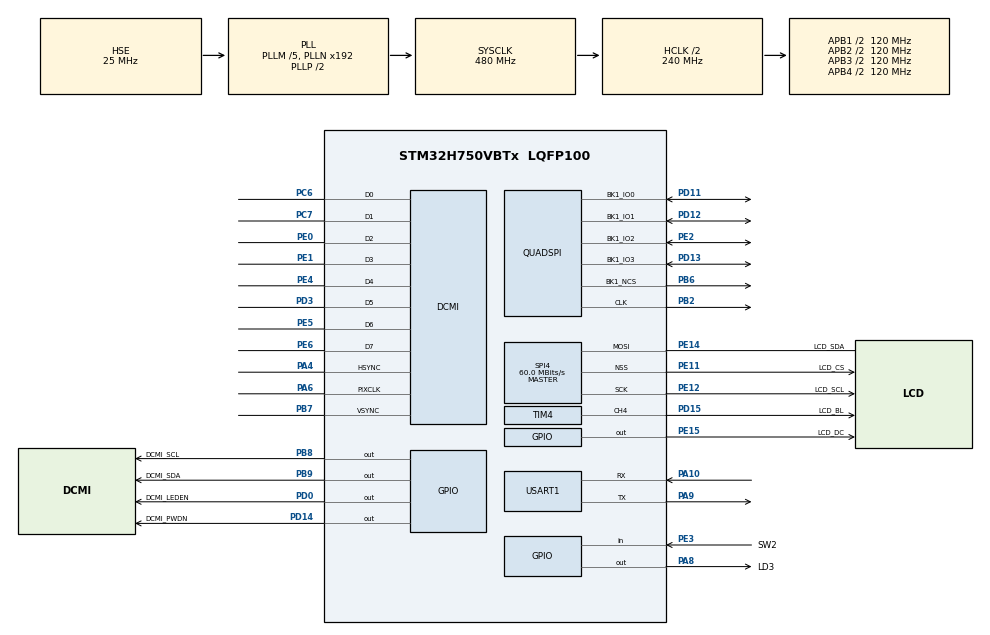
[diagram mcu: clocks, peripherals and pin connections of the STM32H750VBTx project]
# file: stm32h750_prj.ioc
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ADC3.Channel-0\#ChannelRegularConversion=ADC_CHANNEL_VBAT
ADC3.NbrOfConversionFlag=1
ADC3.OffsetNumber-0\#ChannelRegularConversion=ADC_OFFSET_NONE
ADC3.OffsetSignedSaturation-0\#ChannelRegularConversion=DISABLE
ADC3.Rank-0\#ChannelRegularConversion=1
ADC3.SamplingTime-0\#ChannelRegularConversion=ADC_SAMPLETIME_1CYCLE_5
CORTEX_M7.CPU_DCache=Enabled
CORTEX_M7.CPU_ICache=Enabled
CORTEX_M7.default_mode_Activation=1
DCMI.JPEGMode=DCMI_JPEG_DISABLE
DCMI.PCKPolarity=DCMI_PCKPOLARITY_RISING
Dma.DCMI.0.Direction=DMA_PERIPH_TO_MEMORY
Dma.DCMI.0.EventEnable=DISABLE
Dma.DCMI.0.FIFOMode=DMA_FIFOMODE_DISABLE
Dma.DCMI.0.Instance=DMA1_Stream0
Dma.DCMI.0.MemDataAlignment=DMA_MDATAALIGN_WORD
Dma.DCMI.0.MemInc=DMA_MINC_ENABLE
Dma.DCMI.0.Mode=DMA_CIRCULAR
Dma.DCMI.0.PeriphDataAlignment=DMA_PDATAALIGN_WORD
Dma.DCMI.0.PeriphInc=DMA_PINC_DISABLE
Dma.DCMI.0.Polarity=HAL_DMAMUX_REQ_GEN_RISING
Dma.DCMI.0.Priority=DMA_PRIORITY_LOW
Dma.DCMI.0.RequestNumber=1
Dma.DCMI.0.SignalID=NONE
Dma.DCMI.0.SyncEnable=DISABLE
Dma.DCMI.0.SyncPolarity=HAL_DMAMUX_SYNC_NO_EVENT
Dma.DCMI.0.SyncRequestNumber=1
Dma.DCMI.0.SyncSignalID=NONE
Dma.Request0=DCMI
Mcu.Family=STM32H7
Mcu.Name=STM32H750VBTx
Mcu.Package=LQFP100
Mcu.UserConstants=TEST_BAUDRATE,115200
NVIC.DCMI_IRQn=true\:0\:0\:false\:false\:true\:true\:true\:true
NVIC.DMA1_Stream0_IRQn=true\:0\:0\:false\:false\:true\:false\:true\:true
NVIC.PriorityGroup=NVIC_PRIORITYGROUP_4
PA10.Mode=Asynchronous
PA10.Signal=USART1_RX
PA13\ (JTMS/SWDIO).Mode=Trace_Asynchronous_SW
PA13\ (JTMS/SWDIO).Signal=DEBUG_JTMS-SWDIO
PA14\ (JTCK/SWCLK).Mode=Trace_Asynchronous_SW
PA14\ (JTCK/SWCLK).Signal=DEBUG_JTCK-SWCLK
PA4.GPIO_Speed=GPIO_SPEED_FREQ_VERY_HIGH
PA4.Mode=Slave_8_bits_External_Synchro
PA4.Signal=DCMI_HSYNC
PA6.GPIO_Speed=GPIO_SPEED_FREQ_VERY_HIGH
PA6.Mode=Slave_8_bits_External_Synchro
PA6.Signal=DCMI_PIXCLK
PA8.GPIO_Label=LD3
PA8.Signal=GPIO_Output
PA9.Mode=Asynchronous
PA9.Signal=USART1_TX
PB2.Mode=Single Bank 1
PB2.Signal=QUADSPI_CLK
PB3\ (JTDO/TRACESWO).Mode=Trace_Asynchronous_SW
PB3\ (JTDO/TRACESWO).Signal=DEBUG_JTDO-SWO
PB6.Mode=Single Bank 1
PB6.Signal=QUADSPI_BK1_NCS
PB7.GPIO_Speed=GPIO_SPEED_FREQ_VERY_HIGH
PB7.Mode=Slave_8_bits_External_Synchro
PB7.Signal=DCMI_VSYNC
PB8.GPIO_Label=DCMI_SCL
PB8.Signal=GPIO_Output
PB9.GPIO_Label=DCMI_SDA
PB9.GPIO_ModeDefaultOutputPP=GPIO_MODE_OUTPUT_OD
PB9.GPIO_PuPd=GPIO_NOPULL
PB9.Signal=GPIO_Output
PC14-OSC32_IN\ (OSC32_IN).Mode=LSE-External-Oscillator
PC14-OSC32_IN\ (OSC32_IN).Signal=RCC_OSC32_IN
PC15-OSC32_OUT\ (OSC32_OUT).Mode=LSE-External-Oscillator
PC15-OSC32_OUT\ (OSC32_OUT).Signal=RCC_OSC32_OUT
PC6.GPIO_Speed=GPIO_SPEED_FREQ_VERY_HIGH
PC6.Mode=Slave_8_bits_External_Synchro
PC6.Signal=DCMI_D0
PC7.GPIO_Speed=GPIO_SPEED_FREQ_VERY_HIGH
PC7.Mode=Slave_8_bits_External_Synchro
PC7.Signal=DCMI_D1
PD0.GPIO_Label=DCMI_LEDEN
PD0.Signal=GPIO_Output
PD11.Mode=Single Bank 1
PD11.Signal=QUADSPI_BK1_IO0
PD12.Mode=Single Bank 1
PD12.Signal=QUADSPI_BK1_IO1
PD13.Mode=Single Bank 1
PD13.Signal=QUADSPI_BK1_IO3
PD14.GPIO_Label=DCMI_PWDN
PD14.Signal=GPIO_Output
PD15.GPIO_Label=LCD_BL
PD15.Signal=S_TIM4_CH4
PD3.GPIO_Speed=GPIO_SPEED_FREQ_VERY_HIGH
PD3.Mode=Slave_8_bits_External_Synchro
PD3.Signal=DCMI_D5
PE0.GPIO_Speed=GPIO_SPEED_FREQ_VERY_HIGH
PE0.Mode=Slave_8_bits_External_Synchro
PE0.Signal=DCMI_D2
PE1.GPIO_Speed=GPIO_SPEED_FREQ_VERY_HIGH
PE1.Mode=Slave_8_bits_External_Synchro
PE1.Signal=DCMI_D3
PE11.GPIO_Label=LCD_CS
PE11.GPIO_Speed=GPIO_SPEED_FREQ_VERY_HIGH
PE11.Mode=NSS_Signal_Hard_Output
PE11.Signal=SPI4_NSS
PE12.GPIO_Label=LCD_SCL
PE12.GPIO_Speed=GPIO_SPEED_FREQ_VERY_HIGH
PE12.Mode=Simplex_Bidirectional_Master
PE12.Signal=SPI4_SCK
PE14.GPIO_Label=LCD_SDA
PE14.GPIO_Speed=GPIO_SPEED_FREQ_VERY_HIGH
PE14.Mode=Simplex_Bidirectional_Master
PE14.Signal=SPI4_MOSI
PE15.GPIO_Label=LCD_DC
PE15.Signal=GPIO_Output
PE2.Mode=Single Bank 1
PE2.Signal=QUADSPI_BK1_IO2
PE3.GPIO_Label=SW2
PE3.Signal=GPIO_Input
PE4.GPIO_Speed=GPIO_SPEED_FREQ_VERY_HIGH
PE4.Mode=Slave_8_bits_External_Synchro
PE4.Signal=DCMI_D4
PE5.GPIO_Speed=GPIO_SPEED_FREQ_VERY_HIGH
PE5.Mode=Slave_8_bits_External_Synchro
PE5.Signal=DCMI_D6
PE6.GPIO_Speed=GPIO_SPEED_FREQ_VERY_HIGH
PE6.Mode=Slave_8_bits_External_Synchro
PE6.Signal=DCMI_D7
PH0-OSC_IN\ (PH0).Mode=HSE-External-Oscillator
PH0-OSC_IN\ (PH0).Signal=RCC_OSC_IN
PH1-OSC_OUT\ (PH1).Mode=HSE-External-Oscillator
PH1-OSC_OUT\ (PH1).Signal=RCC_OSC_OUT
ProjectManager.HeapSize=0x800
ProjectManager.StackSize=0x2000
ProjectManager.TargetToolchain=MDK-ARM V5.32
RCC.ADCFreq_Value=75000000
RCC.APB1CLKDivider=RCC_APB1_DIV2
RCC.APB1Freq_Value=120000000
RCC.APB2CLKDivider=RCC_APB2_DIV2
RCC.APB2Freq_Value=120000000
RCC.APB3CLKDivider=RCC_APB3_DIV2
RCC.APB3Freq_Value=120000000
RCC.APB4CLKDivider=RCC_APB4_DIV2
RCC.APB4Freq_Value=120000000
RCC.CortexFreq_Value=480000000
RCC.D1PPRE=RCC_APB3_DIV2
RCC.D2PPRE1=RCC_APB1_DIV2
RCC.D2PPRE2=RCC_APB2_DIV2
RCC.D3PPRE=RCC_APB4_DIV2
RCC.DIVM1=5
RCC.DIVM2=2
RCC.DIVN1=192
RCC.DIVN2=12
RCC.DIVQ1=4
RCC.HCLKFreq_Value=240000000
RCC.HPRE=RCC_HCLK_DIV2
RCC.PLL2FRACN=0
RCC.PLL3FRACN=0
RCC.PLLFRACN=0
RCC.PLLSourceVirtual=RCC_PLLSOURCE_HSE
RCC.SYSCLKFreq_VALUE=480000000
RCC.SYSCLKSource=RCC_SYSCLKSOURCE_PLLCLK
RCC.USBFreq_Value=240000000
SH.S_TIM4_CH4.0=TIM4_CH4,PWM Generation4 CH4
SPI4.BaudRatePrescaler=SPI_BAUDRATEPRESCALER_2
SPI4.CalculateBaudRate=60.0 MBits/s
SPI4.DataSize=SPI_DATASIZE_8BIT
SPI4.Direction=SPI_DIRECTION_1LINE
SPI4.FifoThreshold=SPI_FIFO_THRESHOLD_02DATA
SPI4.Mode=SPI_MODE_MASTER
SPI4.VirtualNSS=VM_NSSHARD
SPI4.VirtualType=VM_MASTER
TIM4.Channel-PWM\ Generation4\ CH4=TIM_CHANNEL_4
TIM4.Pulse-PWM\ Generation4\ CH4=32768
USART1.BaudRate=TEST_BAUDRATE
USART1.VirtualMode-Asynchronous=VM_ASYNC
VP_ADC3_TempSens_Input.Mode=IN-TempSens
VP_ADC3_Vbat_Input.Mode=IN-Vbat
VP_ADC3_Vref_Input.Mode=IN-Vrefint
VP_MEMORYMAP_VS_MEMORYMAP.Mode=CurAppReg
board=custom

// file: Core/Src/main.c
/* USER CODE BEGIN Header */
/**
  ******************************************************************************
  * @file           : main.c
  * @brief          : Main program body
  ******************************************************************************
  * @attention
  *
  * Copyright (c) 2026 STMicroelectronics.
  * All rights reserved.
  *
  * This software is licensed under terms that can be found in the LICENSE file
  * in the root directory of this software component.
  * If no LICENSE file comes with this software, it is provided AS-IS.
  *
  ******************************************************************************
  */
/* USER CODE END Header */
#include "main.h"
#include "adc.h"
#include "dcmi.h"
#include "dma.h"
#include "quadspi.h"
#include "spi.h"
#include "tim.h"
#include "usart.h"
#include "gpio.h"

/* USER CODE BEGIN Includes */
#include <stdio.h>
#include <string.h>
#if defined(__ARMCC_VERSION) && !defined(__MICROLIB)
#include <rt_sys.h>
#endif
#include "custom_def.h"

#include "lcd_spi_200.h"
#include "dcmi_ov5640.h"

#define Camera_Buffer	0x24000000
/* USER CODE END Includes */

void SystemClock_Config(void);
static void MPU_Config(void);

/* USER CODE BEGIN 0 */
#if defined(__ICCARM__)
/* New definition from EWARM V9, compatible with EWARM8 */
int iar_fputc(int ch);
#define PUTCHAR_PROTOTYPE int iar_fputc(int ch)
#elif defined ( __CC_ARM ) || defined(__ARMCC_VERSION)
/* ARM Compiler 5/6*/
#define PUTCHAR_PROTOTYPE int fputc(int ch, FILE *f)
#elif defined(__GNUC__)
#define PUTCHAR_PROTOTYPE int __io_putchar(int ch)
#endif /* __ICCARM__ */

PUTCHAR_PROTOTYPE {
	HAL_UART_Transmit(&huart1, (uint8_t *)&ch, 1, 100);
	return (ch);
}

int stdout_putchar (int ch) {
	HAL_UART_Transmit(&huart1, (uint8_t *)&ch, 1, 100);
	return (ch);
}

#if defined(__ARMCC_VERSION) && !defined(__MICROLIB)
/* ---------------------------------------------------------------------------
 * Full ARM C library (non-microLIB) retarget: printf -> USART1.
 * The full library routes stdout through the _sys_* layer (semihosting by
 * default), which is why _ttywrch hung. These overrides send to USART1.
 * ------------------------------------------------------------------------- */
__asm(".global __use_no_semihosting");

struct __FILE { int handle; }; /* completes stdio's FILE for the retarget */

FILE __stdin;
FILE __stdout;
FILE __stderr;

FILEHANDLE _sys_open(const char *name, int openmode)
{
  (void)openmode;
  if (strcmp(name, __stdin_name) == 0)  { return 0; }
  if (strcmp(name, __stdout_name) == 0) { return 1; }
  if (strcmp(name, __stderr_name) == 0) { return 2; }
  return -1;
}

int _sys_close(FILEHANDLE fh) { (void)fh; return 0; }

int _sys_read(FILEHANDLE fh, unsigned char *buf, unsigned len, int mode)
{
  (void)fh; (void)buf; (void)len; (void)mode;
  return 0;
}

int _sys_write(FILEHANDLE fh, const unsigned char *buf, unsigned len, int mode)
{
  (void)fh;
  (void)mode;
  if (len != 0U)
  {
    HAL_UART_Transmit(&huart1, (uint8_t *)buf, len, HAL_MAX_DELAY);
  }
  return 0; /* all bytes written */
}

int _sys_istty(FILEHANDLE fh) { (void)fh; return 1; }

int _sys_seek(FILEHANDLE fh, long pos) { (void)fh; (void)pos; return -1; }

int _sys_ensure(FILEHANDLE fh) { (void)fh; return 0; }

long _sys_flen(FILEHANDLE fh) { (void)fh; return 0; }

int _sys_tmpnam2(char *name, int sig, unsigned maxlen)
{
  (void)name; (void)sig; (void)maxlen;
  return -1;
}

void _sys_exit(int returncode) { (void)returncode; while (1) { } }

char *_sys_command_string(char *cmd, int len) { (void)cmd; (void)len; return 0; }

/* Last-resort character output (avoids semihosting hang). */
void _ttywrch(int ch)
{
  HAL_UART_Transmit(&huart1, (uint8_t *)&ch, 1, HAL_MAX_DELAY);
}

int ferror(FILE *f) { (void)f; return 0; }
#endif /* !__MICROLIB */
/* USER CODE END 0 */

int main(void)
{

  /* USER CODE BEGIN 1 */
  /* Note: stale I/D-cache lines from a debugger soft-reset are dropped in
     SystemInit(), which runs before __main's .data copy. */
  /* USER CODE END 1 */

  /* MPU Configuration--------------------------------------------------------*/
#ifndef QSPI_APP
  MPU_Config();
#endif

  /* Enable the CPU Cache */

  /* Enable I-Cache---------------------------------------------------------*/
  SCB_EnableICache();

  /* Enable D-Cache---------------------------------------------------------*/
  SCB_EnableDCache();

  /* MCU Configuration--------------------------------------------------------*/

  /* Reset of all peripherals, Initializes the Flash interface and the Systick. */
  HAL_Init();

  /* USER CODE BEGIN Init */
  /* Pre-program 4 flash wait states (needed for 480MHz SYSCLK) with a barrier so the
     latency set+readback inside HAL_RCC_ClockConfig can't race on the M7 device bus. */
#ifndef QSPI_APP
  __HAL_FLASH_SET_LATENCY(FLASH_LATENCY_4);
  __DSB();
  __ISB();
#endif
  /* USER CODE END Init */

  /* Configure the system clock */
#ifndef QSPI_APP
  SystemClock_Config();
#endif

  /* Initialize all configured peripherals */
  MX_GPIO_Init();
  MX_DMA_Init();
  MX_ADC3_Init();
#ifndef QSPI_APP
  MX_QUADSPI_Init();
#endif
  MX_SPI4_Init();
  MX_TIM4_Init();
  MX_USART1_UART_Init();
  MX_DCMI_Init();

  /* Infinite loop */
  /* USER CODE BEGIN WHILE */
	//   MX_SDMMC1_SD_Init(); will blocks
//	  HAL_GPIO_WritePin(DCMI_PWDN_GPIO_Port, DCMI_PWDN_Pin, GPIO_PIN_SET);

	SPI_LCD_Init();

	LCD_DisplayString( 84 ,240,"Clk:");
	LCD_DisplayNumber( 132,240, SystemCoreClock/1000000,2);

//	HAL_GPIO_WritePin(DCMI_PWDN_GPIO_Port, DCMI_PWDN_Pin, GPIO_PIN_RESET);
//	HAL_GPIO_WritePin(DCMI_LEDEN_GPIO_Port, DCMI_LEDEN_Pin, GPIO_PIN_SET);

	int8_t ret_dcmi_init_val = DCMI_OV5640_Init();
	if(OV5640_Success != ret_dcmi_init_val) {
		printf("DCMI init failed.\n");
//		HAL_GPIO_WritePin(DCMI_PWDN_GPIO_Port, DCMI_PWDN_Pin, GPIO_PIN_SET);
//		HAL_GPIO_WritePin(DCMI_LEDEN_GPIO_Port, DCMI_LEDEN_Pin, GPIO_PIN_RESET);
	} else {
		OV5640_AF_Download_Firmware();
		OV5640_AF_Trigger_Constant();
		//	OV5640_AF_Trigger_Single();

		//	120/160 degree wide-angle lenses default to different
		//	orientations than the auto-focus lens; adjust per real usage.
		//	OV5640_Set_Vertical_Flip( OV5640_Disable );		// cancel vertical flip
		//	OV5640_Set_Horizontal_Mirror( OV5640_Enable );	// enable horizontal mirror

		OV5640_DMA_Transmit_Continuous(Camera_Buffer, Display_BufferSize);
	}

	printf("H750 Test @ %u Hz\n", SystemCoreClock);
	printf("CC: %s\n", COMPILER_NAME);
	printf("%u Hz, %08X, CM:%d, FPU_USED:%d\n",
			SystemCoreClock, SCB->CPUID,
			__CORTEX_M, __FPU_USED);
	printf("vector: %08X %08X\n", (uint32_t)(&stdout_putchar), (uint32_t)(&main));

  uint32_t tick_print = 0;
  while (1)
  {
		if ( OV5640_FrameState == 1 ) {
			OV5640_FrameState = 0;
			LCD_CopyBuffer(0,0,Display_Width,Display_Height, (uint16_t *)Camera_Buffer);
			LCD_ShowTransparent(1);
			LCD_DisplayNumber( 84,240, OV5640_FPS,2);
		}

		if ((HAL_GetTick() - tick_print) >= 1000) {
			tick_print = HAL_GetTick();
			HAL_GPIO_TogglePin(LD3_GPIO_Port, LD3_Pin);
			printf("%u Hz, %08X, CM:%d, FPU_USED:%d\n",
					SystemCoreClock, SCB->CPUID,
					__CORTEX_M, __FPU_USED);
		}
    /* USER CODE END WHILE */

  }
}

void SystemClock_Config(void)
{
  RCC_OscInitTypeDef RCC_OscInitStruct = {0};
  RCC_ClkInitTypeDef RCC_ClkInitStruct = {0};

  /** Supply configuration update enable
  */
  HAL_PWREx_ConfigSupply(PWR_LDO_SUPPLY);

  /** Configure the main internal regulator output voltage
  */
  __HAL_PWR_VOLTAGESCALING_CONFIG(PWR_REGULATOR_VOLTAGE_SCALE0);

  while(!__HAL_PWR_GET_FLAG(PWR_FLAG_VOSRDY)) {}

  /** Initializes the RCC Oscillators according to the specified parameters
  * in the RCC_OscInitTypeDef structure.
  */
  RCC_OscInitStruct.OscillatorType = RCC_OSCILLATORTYPE_HSE;
  RCC_OscInitStruct.HSEState = RCC_HSE_ON;
  RCC_OscInitStruct.PLL.PLLState = RCC_PLL_ON;
  RCC_OscInitStruct.PLL.PLLSource = RCC_PLLSOURCE_HSE;
  RCC_OscInitStruct.PLL.PLLM = 5;
  RCC_OscInitStruct.PLL.PLLN = 192;
  RCC_OscInitStruct.PLL.PLLP = 2;
  RCC_OscInitStruct.PLL.PLLQ = 4;
  RCC_OscInitStruct.PLL.PLLR = 2;
  RCC_OscInitStruct.PLL.PLLRGE = RCC_PLL1VCIRANGE_2;
  RCC_OscInitStruct.PLL.PLLVCOSEL = RCC_PLL1VCOWIDE;
  RCC_OscInitStruct.PLL.PLLFRACN = 0;
  if (HAL_RCC_OscConfig(&RCC_OscInitStruct) != HAL_OK)
  {
    Error_Handler();
  }

  /** Initializes the CPU, AHB and APB buses clocks
  */
  RCC_ClkInitStruct.ClockType = RCC_CLOCKTYPE_HCLK|RCC_CLOCKTYPE_SYSCLK
                              |RCC_CLOCKTYPE_PCLK1|RCC_CLOCKTYPE_PCLK2
                              |RCC_CLOCKTYPE_D3PCLK1|RCC_CLOCKTYPE_D1PCLK1;
  RCC_ClkInitStruct.SYSCLKSource = RCC_SYSCLKSOURCE_PLLCLK;
  RCC_ClkInitStruct.SYSCLKDivider = RCC_SYSCLK_DIV1;
  RCC_ClkInitStruct.AHBCLKDivider = RCC_HCLK_DIV2;
  RCC_ClkInitStruct.APB3CLKDivider = RCC_APB3_DIV2;
  RCC_ClkInitStruct.APB1CLKDivider = RCC_APB1_DIV2;
  RCC_ClkInitStruct.APB2CLKDivider = RCC_APB2_DIV2;
  RCC_ClkInitStruct.APB4CLKDivider = RCC_APB4_DIV2;

	HAL_StatusTypeDef tmpStatus = HAL_RCC_ClockConfig(&RCC_ClkInitStruct, FLASH_LATENCY_4);
  if (tmpStatus != HAL_OK)
  {
    Error_Handler();
  }
}

 /* MPU Configuration */

void MPU_Config(void)
{
  MPU_Region_InitTypeDef MPU_InitStruct = {0};

  /* Disables the MPU */
  HAL_MPU_Disable();

  /** Initializes and configures the Region and the memory to be protected
  */
  MPU_InitStruct.Enable = MPU_REGION_ENABLE;
  MPU_InitStruct.Number = MPU_REGION_NUMBER0;
  MPU_InitStruct.BaseAddress = 0x0;
  MPU_InitStruct.Size = MPU_REGION_SIZE_4GB;
  MPU_InitStruct.SubRegionDisable = 0x87;
  MPU_InitStruct.TypeExtField = MPU_TEX_LEVEL0;
  MPU_InitStruct.AccessPermission = MPU_REGION_NO_ACCESS;
  MPU_InitStruct.DisableExec = MPU_INSTRUCTION_ACCESS_DISABLE;
  MPU_InitStruct.IsShareable = MPU_ACCESS_SHAREABLE;
  MPU_InitStruct.IsCacheable = MPU_ACCESS_NOT_CACHEABLE;
  MPU_InitStruct.IsBufferable = MPU_ACCESS_NOT_BUFFERABLE;

  HAL_MPU_ConfigRegion(&MPU_InitStruct);
  /* Enables the MPU */
  HAL_MPU_Enable(MPU_PRIVILEGED_DEFAULT);

}

void Error_Handler(void)
{
  __disable_irq();
  while (1)
  {
  }
}
